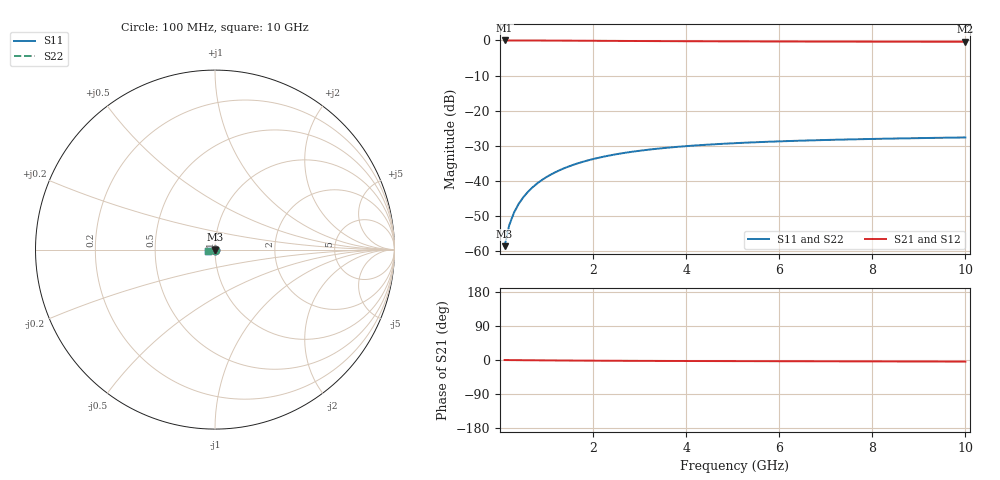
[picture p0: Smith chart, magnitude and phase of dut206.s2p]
! Touchstone file exported from HFSS 2024.1.0
!  File:  C:/UserFiles/LocalFiles/RDL_TSV_Batchsim/temp_TSV1_206_1778757508.aedt
!  Generated:  07:24:06 PM May 14, 2026
!  Design:  TSV1
!  Project:  temp_TSV1_206_1778757508
!  Setup:  Setup1
!  Solution:  Sweep
! Variables:
!  dtsv = 12.19um
!  hbump = 3um
!  htsv = 63.09um
!  lrdl = 252.1521522um
!  p = 40
!  p1 = 50.52um
!  t = 500um
!  trdl = 3um
!  wrdl = 24.89489489um
# GHz S MA R 50.000000
! Terminal data exported
! Port[1] = TSV22_T1
! Port[2] = TSV22_T2
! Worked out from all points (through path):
!   100 points, 100 MHz to 10 GHz, reference 50 ohm
!   highest |S21| = 0.00 dB at 100 MHz (marker M1); lowest = -0.4 dB at 10 GHz (marker M2)
!   lowest |S11| = -58.7 dB at 100 MHz (marker M3), VSWR 1.00, Z = 50 - j0.117 ohm
!   |S11| at or under -10 dB: start of sweep to end of sweep
!   |S22| runs from -58.7 to -27.7 dB; largest |S21 - S12| = 6.5e-15
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0.1  0.001166 -87.6  0.9999 -0.1  0.9999 -0.1  0.001166 -87.6
! Gamma 0 0 0 0
! Port Impedance 50 0 50 0
0.2  0.002329 -91.3  0.9998 -0.2  0.9998 -0.2  0.002329 -91.3
0.3  0.003491 -93.6  0.9996 -0.3  0.9996 -0.3  0.003491 -93.6
0.4  0.004649 -95.7  0.9993 -0.4  0.9993 -0.4  0.004649 -95.7
0.5  0.005797 -97.7  0.999 -0.5  0.999 -0.5  0.005797 -97.7
0.6  0.006932 -99.5  0.9986 -0.6  0.9986 -0.6  0.006932 -99.5
0.7  0.008051 -101.4  0.9981 -0.7  0.9981 -0.7  0.008051 -101.4
0.8  0.009151 -103.1  0.9976 -0.8  0.9976 -0.8  0.009151 -103.1
0.9  0.01023 -104.9  0.9971 -0.9  0.9971 -0.9  0.01023 -104.9
1.1  0.01232 -108.3  0.9958 -1.1  0.9958 -1.1  0.01232 -108.3
1.4  0.01525 -113.1  0.9937 -1.4  0.9937 -1.4  0.01525 -113.1
1.6  0.01707 -116.1  0.9922 -1.5  0.9922 -1.5  0.01707 -116.1
1.8  0.01877 -119.0  0.9906 -1.6  0.9906 -1.6  0.01877 -119.0
2.1  0.02111 -123.1  0.9882 -1.8  0.9882 -1.8  0.02111 -123.1
2.5  0.02386 -128.1  0.9851 -2.1  0.9851 -2.1  0.02386 -128.1
2.9  0.02621 -132.6  0.9821 -2.2  0.9821 -2.2  0.02621 -132.6
3.4  0.0287 -137.6  0.9786 -2.5  0.9786 -2.5  0.0287 -137.6
4.2  0.03182 -144.5  0.9739 -2.7  0.9739 -2.7  0.03182 -144.5
5.1  0.03443 -150.8  0.9697 -3.0  0.9697 -3.0  0.03443 -150.8
6.7  0.03763 -159.8  0.9642 -3.4  0.9642 -3.4  0.03763 -159.8
8.4  0.03988 -167.1  0.9604 -3.8  0.9604 -3.8  0.03988 -167.1
10  0.0414 -172.9  0.9579 -4.2  0.9579 -4.2  0.0414 -172.9
